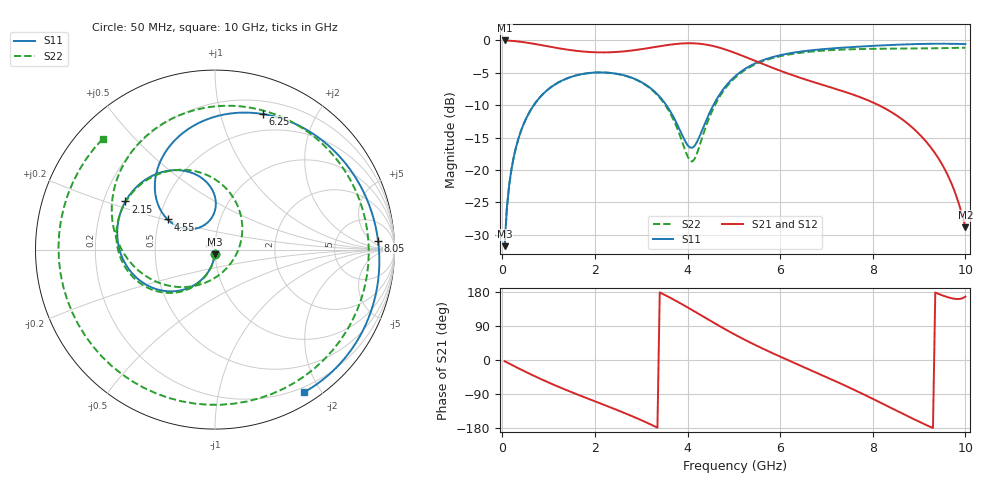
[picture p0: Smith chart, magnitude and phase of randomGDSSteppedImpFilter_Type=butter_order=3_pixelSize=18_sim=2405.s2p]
! freq	dB(S11)	phase(S11)	dB(S12)	phase(S12)
!  dB(S21)	phase(S21)	dB(S22)	phase(S22)
!S-par simulation data
#  GHz  S  DB  R 50
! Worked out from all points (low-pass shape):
!   200 points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, 50 MHz to 10 GHz, reference 50 ohm
!   highest |S21| = 0.00 dB at 50 MHz (marker M1); lowest = -28.8 dB at 10 GHz (marker M2)
!   |S21| within 3 dB of the highest: start of sweep to 5.406 GHz
!   lowest |S11| = -31.8 dB at 50 MHz (marker M3), VSWR 1.05, Z = 49.8 - j2.57 ohm
!   |S11| at or under -10 dB: start of sweep to 680.2 MHz; 3.542 GHz to 4.557 GHz (1.015 GHz wide, 25.1 % of centre)
!   |S22| runs from -31.8 to -1.1 dB; largest |S21 - S12| = 0
!   S11 on the Smith chart (normalised r, x): 50 MHz: 1.00, -0.05; 2.15 GHz: 0.29, +0.23; 4.55 GHz: 0.55, +0.21; 6.25 GHz: 0.32, +1.36; 8.05 GHz: 16, +9; 10 GHz: 0.14, -1.80
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0.05  -31.75 -93.2  -0.00 -3.2  -0.00 -3.2  -31.76 -93.1
0.1  -25.75 -96.6  -0.02 -6.3  -0.02 -6.3  -25.76 -96.3
0.2  -19.81 -103.3  -0.06 -12.6  -0.06 -12.6  -19.81 -102.7
0.5  -12.29 -122.2  -0.31 -31.0  -0.31 -31.0  -12.28 -120.9
1.05  -7.22 -154.0  -1.00 -62.1  -1.00 -62.1  -7.22 -151.3
1.75  -5.16 170.5  -1.72 -97.2  -1.72 -97.2  -5.16 174.2
2.15  -4.94 151.8  -1.85 -116.1  -1.85 -116.1  -4.95 155.2
2.85  -5.91 119.5  -1.51 -150.7  -1.51 -150.7  -5.95 119.3
3.4  -8.70 95.8  -0.90 178.4  -0.90 178.4  -8.86 83.0
4.1  -16.58 120.6  -0.44 131.8  -0.44 131.8  -18.70 -37.9
4.55  -10.10 147.5  -0.86 99.5  -0.86 99.5  -10.60 -135.1
5.05  -5.40 127.5  -1.99 65.2  -1.99 65.2  -5.60 179.1
5.6  -3.12 100.2  -3.57 31.5  -3.57 31.5  -3.27 140.2
6.25  -1.93 70.6  -5.32 -4.7  -5.32 -4.7  -2.10 98.5
6.7  -1.50 52.0  -6.38 -28.9  -6.38 -28.9  -1.70 69.0
7.45  -1.07 23.8  -8.06 -70.3  -8.06 -70.3  -1.38 14.5
8.05  -0.82 3.2  -9.73 -105.5  -9.73 -105.5  -1.29 -36.2
8.35  -0.72 -6.7  -10.84 -123.6  -10.84 -123.6  -1.27 -63.9
8.8  -0.59 -21.1  -13.11 -150.9  -13.11 -150.9  -1.25 -107.3
9.3  -0.52 -36.7  -16.96 -179.5  -16.96 -179.5  -1.22 -156.5
9.65  -0.52 -47.4  -21.27 164.6  -21.27 164.6  -1.17 169.3
10  -0.57 -57.9  -28.85 167.3  -28.85 167.3  -1.12 135.3
